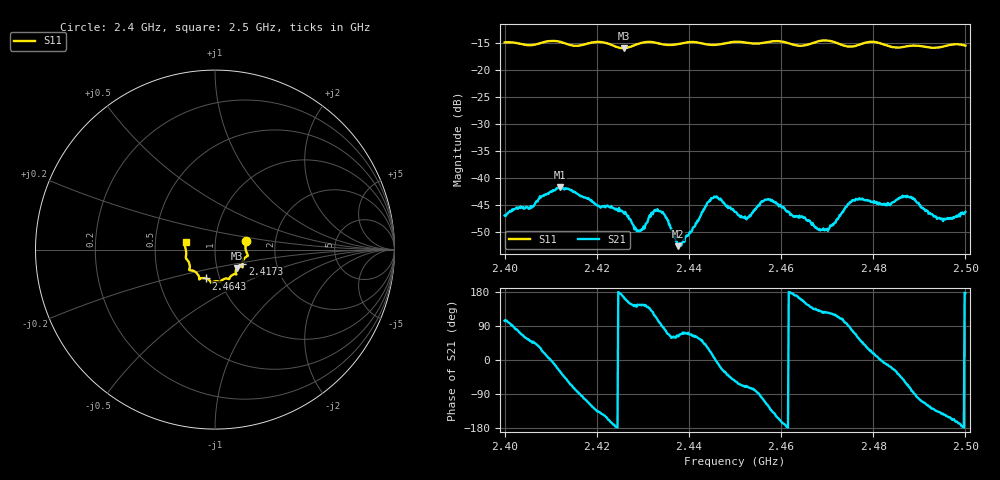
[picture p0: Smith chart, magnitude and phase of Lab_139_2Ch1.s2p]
# Hz S RI R 50
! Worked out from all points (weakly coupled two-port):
!   601 points, 2.4 GHz to 2.5 GHz, reference 50 ohm
!   highest |S21| = -41.66 dB at 2.412 GHz (marker M1); lowest = -52.5 dB at 2.4377 GHz (marker M2)
!   lowest |S11| = -15.9 dB at 2.4258 GHz (marker M3), VSWR 1.38, Z = 62.3 - j13.3 ohm
!   |S11| at or under -10 dB: start of sweep to end of sweep
!   S12 and S22 are empty: the file has one direction only
!   S11 on the Smith chart (normalised r, x): 2.4 GHz: 1.41, +0.15; 2.4173 GHz: 1.34, -0.23; 2.4643 GHz: 0.86, -0.28; 2.5 GHz: 0.72, +0.06
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2.4e9  0.1735 0.0498  -0.00107 0.00441  0 0  0 0
2.405833e9  0.1703 0.00348  0.00352 0.00403  0 0  0 0
2.412e9  0.1797 -0.0365  0.00719 -0.00407  0 0  0 0
2.416667e9  0.153 -0.0747  -0.0006 -0.00679  0 0  0 0
2.417333e9  0.1524 -0.0822  -0.00146 -0.00651  0 0  0 0
2.425833e9  0.1214 -0.1038  -0.00464 0.00113  0 0  0 0
2.429167e9  0.1164 -0.1322  -0.00266 0.00186  0 0  0 0
2.433333e9  0.1128 -0.1369  -0.00119 0.00486  0 0  0 0
2.435e9  0.1016 -0.1383  0.000971 0.00422  0 0  0 0
2.437667e9  0.0842 -0.1528  0.00111 0.00209  0 0  0 0
2.445333e9  0.0527 -0.1629  0.00655 0.000945  0 0  0 0
2.45e9  0.0295 -0.1808  0.00279 -0.004  0 0  0 0
2.452833e9  0.0183 -0.1776  0.00134 -0.00416  0 0  0 0
2.457167e9  -0.0145 -0.1816  -0.00323 -0.00557  0 0  0 0
2.464333e9  -0.0503 -0.1606  -0.00412 0.00158  0 0  0 0
2.466667e9  -0.0764 -0.1598  -0.00279 0.00245  0 0  0 0
2.47e9  -0.0876 -0.1663  -0.00196 0.0028  0 0  0 0
2.476e9  -0.1164 -0.1196  0.00219 0.00582  0 0  0 0
2.483333e9  -0.1411 -0.0894  0.0055 -0.0015  0 0  0 0
2.487333e9  -0.1576 -0.0542  0.00289 -0.00628  0 0  0 0
2.494667e9  -0.1635 0.00658  -0.00325 -0.00265  0 0  0 0
2.5e9  -0.1635 0.0421  -0.00489 0.000305  0 0  0 0
